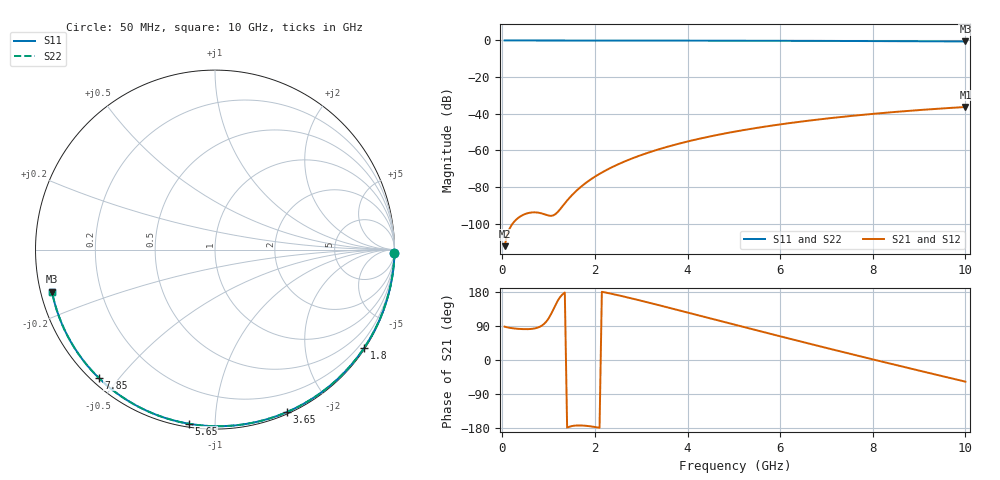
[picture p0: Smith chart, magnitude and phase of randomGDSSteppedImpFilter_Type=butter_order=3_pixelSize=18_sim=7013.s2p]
! freq	dB(S11)	phase(S11)	dB(S12)	phase(S12)
!  dB(S21)	phase(S21)	dB(S22)	phase(S22)
!S-par simulation data
#  GHz  S  DB  R 50
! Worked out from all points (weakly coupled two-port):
!   200 points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, 50 MHz to 10 GHz, reference 50 ohm
!   highest |S21| = -36.35 dB at 10 GHz (marker M1); lowest = -112.3 dB at 50 MHz (marker M2)
!   lowest |S11| = -0.6 dB at 10 GHz (marker M3), VSWR 31.34, Z = 1.62 - j6.35 ohm
!   |S11| at or under -10 dB: nowhere
!   |S22| runs from -0.6 to 0.0 dB; largest |S21 - S12| = 0
!   S11 on the Smith chart (normalised r, x): 50 MHz: open; 1.8 GHz: 0.03, -3.33; 3.65 GHz: 0.02, -1.54; 5.65 GHz: 0.02, -0.86; 7.85 GHz: 0.02, -0.44; 10 GHz: 0.03, -0.13
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0.05  -0.00 -0.9  -112.34 88.1  -112.34 88.1  -0.00 -0.9
0.45  -0.01 -8.5  -95.25 81.5  -95.25 81.5  -0.01 -8.5
0.85  -0.02 -16.0  -94.45 90.4  -94.45 90.4  -0.02 -16.0
1.65  -0.04 -30.7  -80.95 -172.7  -80.95 -172.7  -0.04 -30.7
1.7  -0.04 -31.6  -79.87 -172.8  -79.87 -172.8  -0.04 -31.6
1.75  -0.04 -32.5  -78.84 -173.1  -78.84 -173.1  -0.04 -32.5
1.8  -0.04 -33.5  -77.87 -173.6  -77.87 -173.6  -0.04 -33.5
2.1  -0.05 -38.9  -72.85 -178.9  -72.85 -178.9  -0.05 -38.9
2.5  -0.06 -46.0  -67.65 170.9  -67.65 170.9  -0.06 -46.0
2.9  -0.07 -53.1  -63.50 159.4  -63.50 159.4  -0.07 -53.1
3.4  -0.08 -61.7  -59.28 144.1  -59.28 144.1  -0.08 -61.7
3.65  -0.09 -66.0  -57.47 136.3  -57.47 136.3  -0.09 -66.0
4.3  -0.11 -76.9  -53.42 115.8  -53.42 115.8  -0.11 -76.9
5.05  -0.14 -89.1  -49.65 92.2  -49.65 92.2  -0.14 -89.1
5.65  -0.17 -98.6  -47.14 73.4  -47.14 73.4  -0.17 -98.6
6.15  -0.19 -106.4  -45.32 57.9  -45.32 57.9  -0.19 -106.4
6.7  -0.23 -114.8  -43.54 40.9  -43.54 40.9  -0.23 -114.8
7.25  -0.26 -123.2  -41.97 24.2  -41.97 24.2  -0.26 -123.2
7.85  -0.31 -132.3  -40.45 6.1  -40.45 6.1  -0.31 -132.3
8.35  -0.36 -139.8  -39.32 -8.8  -39.32 -8.8  -0.36 -139.8
9.2  -0.45 -152.9  -37.65 -33.8  -37.65 -33.8  -0.45 -152.9
10  -0.55 -165.5  -36.35 -57.1  -36.35 -57.1  -0.55 -165.5
